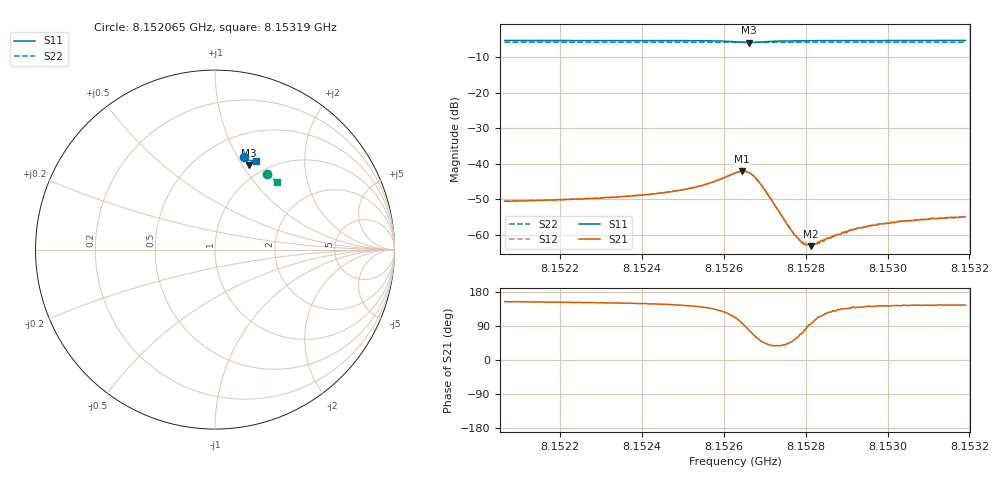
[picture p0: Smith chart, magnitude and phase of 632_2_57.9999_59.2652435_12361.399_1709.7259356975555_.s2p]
#  HZ  S  RI  R  50.00
! Rohde & Schwarz Vector Network Analyzer
! Rohde-Schwarz,ZNB20-2Port,1311601062101988,3.16
! Created: UTC 3/21/2024, 1:18:41 AM
! freq[Hz]  re:S11  im:S11  re:S21  im:S21  re:S12  im:S12  re:S22  im:S22
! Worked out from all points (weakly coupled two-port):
!   401 points, 8.152065 GHz to 8.15319 GHz, reference 50 ohm
!   highest |S21| = -42.08 dB at 8.152645 GHz (marker M1); lowest = -63.1 dB at 8.152813 GHz (marker M2)
!   lowest |S11| = -5.9 dB at 8.152661 GHz (marker M3), VSWR 3.05, Z = 42.2 + j53.3 ohm
!   |S11| at or under -10 dB: nowhere
!   |S22| runs from -5.9 to -5.8 dB; largest |S21 - S12| = 0.00014
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8.1520655e9  0.1616 0.5157  -0.00268 0.00131  -0.00268 0.00136  0.2899 0.422
8.1522538e9  0.1754 0.5114  -0.00282 0.00152  -0.00284 0.00156  0.2994 0.415
8.1524422e9  0.1904 0.5054  -0.00324 0.00205  -0.00324 0.00213  0.3093 0.4073
8.1525462e9  0.2009 0.4982  -0.00376 0.00321  -0.00375 0.00326  0.3145 0.403
8.1526277e9  0.2052 0.4778  -0.00282 0.00687  -0.00277 0.00693  0.3181 0.3991
8.1526446e9  0.1987 0.4712  -0.00107 0.0078  -0.000969 0.00786  0.3185 0.3984
8.1526615e9  0.1874 0.4702  0.00141 0.00742  0.00149 0.00747  0.319 0.3978
8.1526755e9  0.1797 0.4757  0.0029 0.00591  0.00301 0.0059  0.3195 0.3977
8.1526924e9  0.1771 0.4853  0.00326 0.00379  0.00336 0.00383  0.3203 0.3971
8.1527542e9  0.1889 0.4995  0.00106 0.00097  0.00109 0.000963  0.3237 0.3952
8.1527739e9  0.1923 0.5004  0.000565 0.000815  0.000604 0.0008  0.3248 0.3943
8.1527936e9  0.1953 0.5006  0.000217 0.000718  0.000242 0.000761  0.3259 0.3936
8.1528049e9  0.197 0.5005  2.2e-05 0.000729  5.22e-05 0.000712  0.3265 0.3931
8.1528133e9  0.1979 0.5006  -6.7e-05 0.000694  -7e-05 0.000741  0.3268 0.3927
8.1528161e9  0.1983 0.5005  -0.000109 0.000693  -0.000125 0.000746  0.327 0.3926
8.1528358e9  0.2008 0.5002  -0.000336 0.000739  -0.000343 0.000713  0.3279 0.3918
8.1528498e9  0.2022 0.5001  -0.000478 0.000736  -0.000456 0.000716  0.3286 0.3912
8.1529089e9  0.2079 0.4987  -0.000864 0.00079  -0.000859 0.000787  0.3315 0.3887
8.1529567e9  0.212 0.4976  -0.00107 0.000832  -0.00105 0.000831  0.3339 0.3867
8.1530045e9  0.2159 0.4961  -0.00116 0.00089  -0.00121 0.000897  0.3361 0.3845
8.1530663e9  0.2204 0.4945  -0.00129 0.000918  -0.00132 0.000968  0.3391 0.3819
8.15319e9  0.2291 0.4909  -0.00149 0.00105  -0.00146 0.00106  0.3448 0.3765
